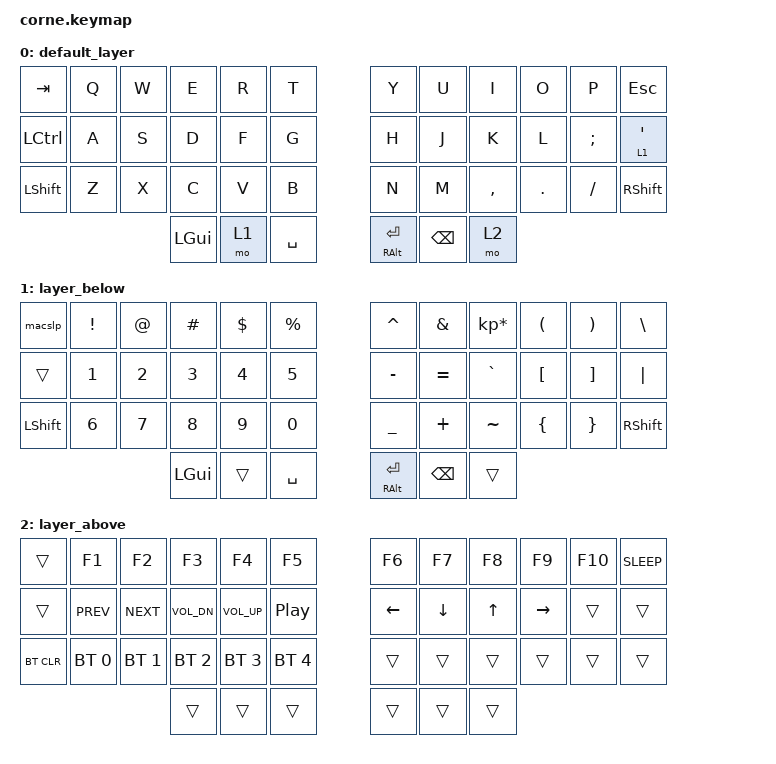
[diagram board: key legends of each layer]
/*
 * Copyright (c) 2020 The ZMK Contributors
 *
 * SPDX-License-Identifier: MIT
 */

#include <behaviors.dtsi>
#include <dt-bindings/zmk/keys.h>
#include <dt-bindings/zmk/bt.h>
/ {
    macros {
        macslp: macslp {
            compatible = "zmk,behavior-macro";
            #binding-cells = <0>;
            bindings
                = <&macro_press &kp RSE>
                , <&macro_tap &kp LGUI &kp RIGHT &kp RIGHT &tp RET >
                , <&macro_release &kp RSE>
                ;
        };
    };
};
/ {
        behaviors {
          tp: tap_preferred {
            compatible = "zmk,behavior-hold-tap";
            label = "TAP_PREFERRED";
            #binding-cells = <2>;
            tapping-term-ms = <150>;
            quick-tap-ms = <0>;
            flavor = "tap-preferred";
            bindings = <&kp>, <&kp>;
          }; 
        };

        keymap {
                compatible = "zmk,keymap";

                default_layer {
// -----------------------------------------------------------------------------------------
// | TAB  |  Q  |  W  |  E  |  R  |    T    |   |  Y  |  U   |  I  |  O  |  P  | ESC |
// | CTRL |  A  |  S  |  D  |  F  |    G    |   |  H  |  J   |  K  |  L  |  ;  |  LWR/'   |
// | SHFT |  Z  |  X  |  C  |  V  |    B    |   |  N  |  M   |  ,  |  .  |  /  | SHFT |
//                    | GUI | LWR | SPC |   | ALT/ENT | BKSP  | RSE |
                        bindings = <
   &kp TAB   &kp Q &kp W &kp E &kp R &kp T   &kp Y &kp U  &kp I     &kp O   &kp P    &kp ESC
   &kp LCTRL &kp A &kp S &kp D &kp F &kp G   &kp H &kp J  &kp K     &kp L   &kp SEMI &lt 1 SQT
   &kp LSHFT &kp Z &kp X &kp C &kp V &kp B   &kp N &kp M  &kp COMMA &kp DOT &kp FSLH &kp RSHFT 
               &kp LGUI &mo 1 &kp SPACE      &tp RALT RET &kp BSPC &mo 2
                        >;
                };

                layer_below {
// -----------------------------------------------------------------------------------------
// | macslp     |  !  |  @  |  #  |  $  |    %     |   |  ^  |  &  |  *  |  (  |  )  |   \   |
// |      |  1  |  2  |  3  |  4  |    5     |   |  -  |  =  |  `  |  [  |  ]  |  "|"  |
// | SHFT |  6  |  7  |  8  |  9  |    0     |   |  _  |  +  |  ~  |  {  |  }  | RSHFT |
//                     | GUI |     | SPC |   | ALT/ENT | BKSP |    |
                        bindings = <
   &macslp    &kp EXCL &kp AT &kp HASH &kp DLLR &kp PRCNT   &kp CARET  &kp AMPS  &kp KP_MULTIPLY &kp LPAR &kp RPAR &kp BSLH
   &trans    &kp N1   &kp N2 &kp N3   &kp N4   &kp N5      &kp MINUS  &kp EQUAL &kp GRAVE       &kp LBKT &kp RBKT &kp PIPE
   &kp LSHFT &kp N6   &kp N7 &kp N8   &kp N9   &kp N0      &kp UNDER  &kp PLUS  &kp TILDE       &kp LBRC &kp RBRC &kp RSHFT
                         &kp LGUI &trans  &kp SPACE        &tp RALT RET &kp BSPC  &trans
                        >;
                };

                layer_above {
// -----------------------------------------------------------------------------------------
// |       |  F1  |  F2  |  F3  |  F4  |  F5 |            |  F6  |  F7  |  F8  |  F9  |  F10  |  SLEEP |
// |       | Prev | Next | Vol - | Vol + | Play/Pause |   |      | LFT | DWN |  UP | RGT |     |     |
// | BTCLR | BT1 | BT2 | BT3 | BT4 | BT5 |   |            |     |     |     |     |     |     |
//                    |     |     |    |                  |     |     |     |
                        bindings = <
   &trans     &kp F1        &kp F2       &kp F3       &kp F4       &kp F5          &kp F6   &kp F7   &kp F8 &kp F9    &kp F10 &kp C_SLEEP
   &trans     &kp C_PREV    &kp C_NEXT   &kp C_VOL_DN &kp C_VOL_UP &kp C_PP        &kp LEFT &kp DOWN &kp UP &kp RIGHT &trans &trans
   &bt BT_CLR &bt BT_SEL 0  &bt BT_SEL 1 &bt BT_SEL 2 &bt BT_SEL 3 &bt BT_SEL 4    &trans   &trans   &trans &trans    &trans &trans
                          	                        &trans   &trans   &trans       &trans   &trans   &trans
                        >;
                };
        };
};
